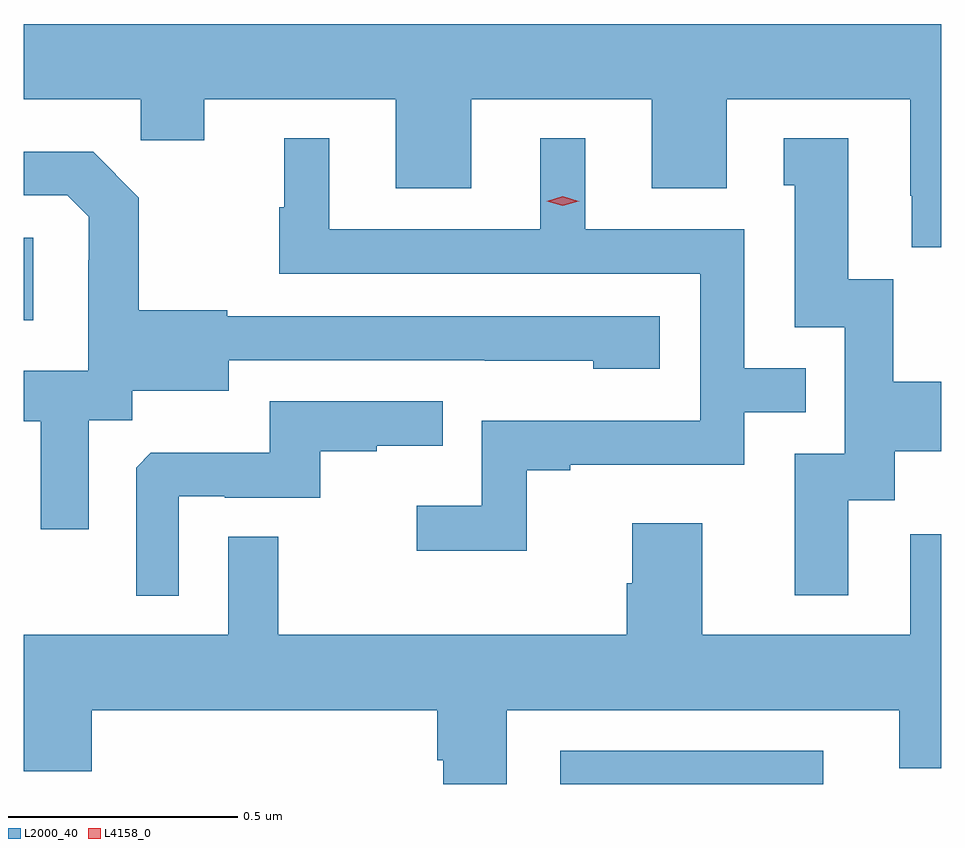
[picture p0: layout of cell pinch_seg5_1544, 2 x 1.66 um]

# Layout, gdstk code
import gdstk
lib = gdstk.Library(unit=1e-6, precision=1e-09)
def R(c, l, rs):  # rectangles x0, y0, x1, y1
    for r in rs: c.add(gdstk.rectangle(r[:2], r[2:], *l))
def P(c, l, *ps):  # polygons
    for p in ps: c.add(gdstk.Polygon(p, *l))
L2000_40 = (2000, 40)
L4158_0 = (4158, 0)

pinch_seg5_1544 = lib.new_cell('pinch_seg5_1544')
R(pinch_seg5_1544, L2000_40, [(240.381,888.567,240.955,888.639), (239.212,889.578,239.233,889.758)])
P(pinch_seg5_1544, L2000_40, [(241.212,890.224),(239.212,890.224),(239.212,890.06),(239.467,890.06),(239.467,889.97),(239.605,889.97),(239.605,890.06),(240.023,890.06),(240.023,889.866),(240.187,889.866),(240.187,890.06),(240.581,890.06),(240.581,889.866),(240.745,889.866),(240.745,890.06),(241.145,890.06),(241.145,889.849),(241.148,889.849),(241.148,889.737),(241.212,889.737)],
  [(240.309,889.251),(240.403,889.251),(240.403,889.263),(240.783,889.263),(240.783,889.377),(240.917,889.377),(240.917,889.473),(240.783,889.473),(240.783,889.776),(240.436,889.776),(240.436,889.975),(240.338,889.975),(240.338,889.776),(239.878,889.776),(239.878,889.975),(239.78,889.975),(239.78,889.824),(239.769,889.824),(239.769,889.68),(240.687,889.68),(240.687,889.359),(240.21,889.359),(240.21,889.174),(240.069,889.174),(240.069,889.076),(240.309,889.076)],
  [(241.009,889.186),(241.111,889.186),(241.111,889.292),(241.212,889.292),(241.212,889.444),(241.107,889.444),(241.107,889.667),(241.009,889.667),(241.009,889.975),(240.869,889.975),(240.869,889.872),(240.893,889.872),(240.893,889.563),(241.002,889.563),(241.002,889.287),(240.893,889.287),(240.893,888.978),(241.009,888.978)],
  [(239.353,889.36),(239.448,889.36),(239.448,889.424),(239.659,889.424),(239.659,889.491),(240.217,889.491),(240.217,889.49),(240.453,889.49),(240.453,889.472),(240.598,889.472),(240.598,889.587),(239.655,889.587),(239.655,889.6),(239.463,889.6),(239.463,889.845),(239.363,889.945),(239.212,889.945),(239.212,889.851),(239.307,889.851),(239.354,889.804),(239.354,889.709),(239.352,889.709),(239.352,889.468),(239.212,889.468),(239.212,889.358),(239.249,889.358),(239.249,889.122),(239.353,889.122)],
  [(239.55,889.194),(239.65,889.194),(239.65,889.191),(239.858,889.191),(239.858,889.293),(239.981,889.293),(239.981,889.304),(240.125,889.304),(240.125,889.401),(239.748,889.401),(239.748,889.289),(239.489,889.289),(239.457,889.257),(239.457,888.977),(239.55,888.977)],
  [(240.265,888.728),(241.121,888.728),(241.121,888.601),(241.212,888.601),(241.212,889.111),(241.145,889.111),(241.145,888.892),(240.691,888.892),(240.691,889.135),(240.539,889.135),(240.539,889.005),(240.527,889.005),(240.527,888.892),(239.767,888.892),(239.767,889.106),(239.658,889.106),(239.658,888.892),(239.212,888.892),(239.212,888.595),(239.36,888.595),(239.36,888.728),(240.113,888.728),(240.113,888.619),(240.126,888.619),(240.126,888.567),(240.265,888.567)])
P(pinch_seg5_1544, L4158_0, [(240.387,889.828),(240.352,889.838),(240.351,889.838),(240.352,889.838),(240.387,889.848),(240.422,889.838),(240.423,889.838),(240.422,889.838)])

lib.write_gds('pinch_seg5_1544.gds')
